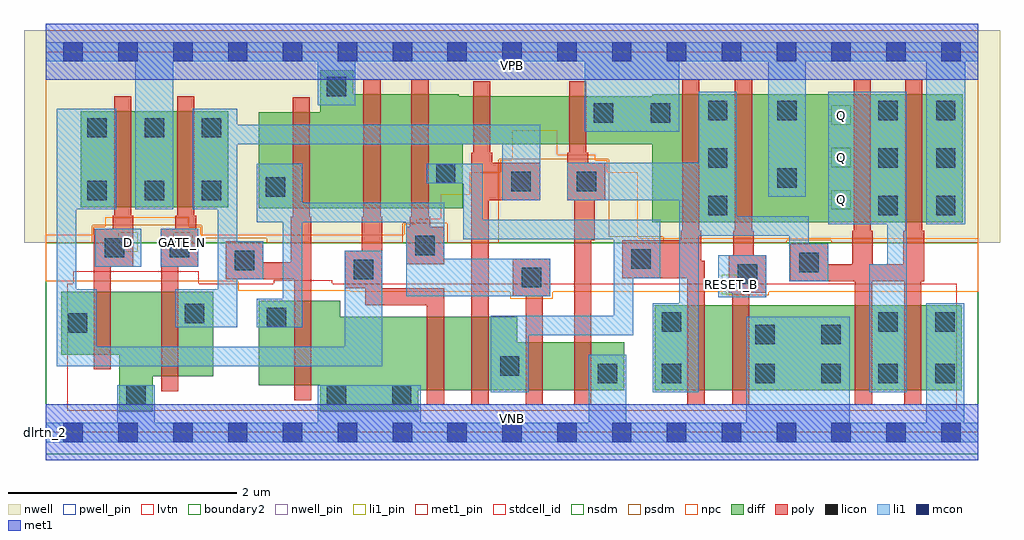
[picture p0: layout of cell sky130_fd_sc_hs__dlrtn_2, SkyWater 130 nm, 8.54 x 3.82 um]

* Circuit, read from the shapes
.subckt sky130_fd_sc_hs__dlrtn_2 D GATE_N Q RESET_B VGND VNB VPB VPWR
XM1 VGND D n1 VNB sky130_fd_pr__nfet_01v8_lvt w=0.55 l=0.15
XM2 n2 GATE_N VGND VNB sky130_fd_pr__nfet_01v8_lvt w=0.74 l=0.15
XM3 VGND n2 n3 VNB sky130_fd_pr__nfet_01v8_lvt w=0.74 l=0.15
XM4 n4 n1 VGND VNB sky130_fd_pr__nfet_01v8_lvt w=0.64 l=0.15
XM5 n5 n2 n4 VNB sky130_fd_pr__nfet_01v8_lvt w=0.64 l=0.15
XM6 n6 n3 n5 VNB sky130_fd_pr__nfet_01v8_lvt w=0.42 l=0.15
XM7 VGND n7 n6 VNB sky130_fd_pr__nfet_01v8_lvt w=0.42 l=0.15
XM8 n8 n5 n7 VNB sky130_fd_pr__nfet_01v8_lvt w=0.74 l=0.15
XM9 VGND RESET_B n8 VNB sky130_fd_pr__nfet_01v8_lvt w=0.74 l=0.15
XM10 Q n7 VGND VNB sky130_fd_pr__nfet_01v8_lvt w=0.74 l=0.15 m=2
XM11 VPWR D n1 VPB sky130_fd_pr__pfet_01v8 w=0.84 l=0.15
XM12 n2 GATE_N VPWR VPB sky130_fd_pr__pfet_01v8 w=0.84 l=0.15
XM13 VPWR n2 n3 VPB sky130_fd_pr__pfet_01v8 w=0.84 l=0.15
XM14 n9 n1 VPWR VPB sky130_fd_pr__pfet_01v8 w=1 l=0.15
XM15 n5 n3 n9 VPB sky130_fd_pr__pfet_01v8 w=1 l=0.15
XM16 n10 n2 n5 VPB sky130_fd_pr__pfet_01v8 w=0.42 l=0.15
XM17 VPWR n7 n10 VPB sky130_fd_pr__pfet_01v8 w=0.42 l=0.15
XM18 n7 n5 VPWR VPB sky130_fd_pr__pfet_01v8 w=1.12 l=0.15
XM19 VPWR RESET_B n7 VPB sky130_fd_pr__pfet_01v8 w=1.12 l=0.15
XM20 Q n7 VPWR VPB sky130_fd_pr__pfet_01v8 w=1.12 l=0.15 m=2
.ends

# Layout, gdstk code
import gdstk
lib = gdstk.Library(unit=1e-6, precision=1e-09)
def R(c, l, rs):  # rectangles x0, y0, x1, y1
    for r in rs: c.add(gdstk.rectangle(r[:2], r[2:], *l))
def A(c, l, x, y, w, h, nx, ny, dx, dy):  # array of equal rectangles
    R(c, l, [(x+i*dx, y+j*dy, x+i*dx+w, y+j*dy+h) for i in range(nx) for j in range(ny)])
def P(c, l, *ps):  # polygons
    for p in ps: c.add(gdstk.Polygon(p, *l))
nwell_pin = (64, 16)
nwell = (64, 20)
diff = (65, 20)
poly = (66, 20)
licon = (66, 44)
li1_pin = (67, 16)
li1 = (67, 20)
mcon = (67, 44)
met1_pin = (68, 16)
met1 = (68, 20)
stdcell_id = (81, 4)
nsdm = (93, 44)
psdm = (94, 20)
npc = (95, 20)
pwell_pin = (122, 16)
lvtn = (125, 44)
boundary2 = (236, 0)

sky130_fd_sc_hs__dlrtn_2 = lib.new_cell('sky130_fd_sc_hs__dlrtn_2')
R(sky130_fd_sc_hs__dlrtn_2, nwell_pin, [(0,3.085,8.16,3.33)])
R(sky130_fd_sc_hs__dlrtn_2, nwell, [(-0.19,1.66,8.35,3.52)])
R(sky130_fd_sc_hs__dlrtn_2, diff, [(5.33,0.37,8.015,1.11), (0.305,1.97,1.595,2.81)])
P(sky130_fd_sc_hs__dlrtn_2, diff, [(1.465,1.23),(0.135,1.23),(0.135,0.68),(0.645,0.68),(0.645,0.18),(0.935,0.18),(0.935,0.49),(1.465,0.49)],
  [(5.06,0.79),(4.125,0.79),(4.125,1.01),(2.575,1.01),(2.575,1.15),(1.865,1.15),(1.865,0.41),(2.4,0.41),(2.4,0.18),(3.26,0.18),(3.26,0.37),(5.06,0.37)],
  [(8.025,2.96),(5.305,2.96),(5.305,2.94),(3.615,2.94),(3.615,2.96),(2.69,2.96),(2.69,3.17),(2.4,3.17),(2.4,2.8),(1.865,2.8),(1.865,1.96),(3.65,1.96),(3.65,2.52),(5.305,2.52),(5.305,1.84),(8.025,1.84)])
P(sky130_fd_sc_hs__dlrtn_2, poly, [(7.685,1.765),(7.67,1.765),(7.67,3.09),(7.52,3.09),(7.52,1.765),(7.505,1.765),(7.505,1.47),(7.235,1.47),(7.235,1.765),(7.22,1.765),(7.22,3.09),(7.07,3.09),(7.07,1.765),(7.055,1.765),(7.055,1.47),(6.845,1.47),(6.845,1.65),(6.515,1.65),(6.515,1.32),(7.08,1.32),(7.08,0.24),(7.23,0.24),(7.23,1.32),(7.51,1.32),(7.51,0.24),(7.66,0.24),(7.66,1.32),(7.685,1.32)],
  [(6.305,1.55),(6.195,1.55),(6.195,1.765),(6.18,1.765),(6.18,3.09),(6.03,3.09),(6.03,1.765),(6.015,1.765),(6.015,1.55),(5.975,1.55),(5.975,1.22),(6.005,1.22),(6.005,0.24),(6.155,0.24),(6.155,1.22),(6.305,1.22)],
  [(5.765,1.5),(5.735,1.5),(5.735,1.765),(5.72,1.765),(5.72,3.09),(5.57,3.09),(5.57,1.765),(5.555,1.765),(5.555,1.68),(5.045,1.68),(5.045,1.35),(5.615,1.35),(5.615,0.24),(5.765,0.24)],
  [(4.895,2.36),(4.745,2.36),(4.745,2.445),(4.73,2.445),(4.73,3.07),(4.58,3.07),(4.58,2.445),(4.565,2.445),(4.565,2.03),(4.625,2.03),(4.625,0.24),(4.775,0.24),(4.775,1.68),(4.805,1.68),(4.805,2.03),(4.895,2.03)],
  [(4.415,1.52),(4.085,1.52),(4.085,1.19),(4.2,1.19),(4.2,0.24),(4.35,0.24),(4.35,1.19),(4.415,1.19)],
  [(4.325,2.36),(3.905,2.36),(3.905,2.445),(3.89,2.445),(3.89,3.07),(3.74,3.07),(3.74,2.445),(3.725,2.445),(3.725,0.24),(3.875,0.24),(3.875,2.03),(4.325,2.03)],
  [(3.485,1.26),(2.945,1.26),(2.945,1.885),(2.93,1.885),(2.93,3.09),(2.78,3.09),(2.78,1.885),(2.765,1.885),(2.765,1.59),(2.615,1.59),(2.615,1.26),(2.795,1.26),(2.795,1.11),(3.335,1.11),(3.335,0.24),(3.485,0.24)],
  [(3.485,1.8),(3.365,1.8),(3.365,1.885),(3.35,1.885),(3.35,3.09),(3.2,3.09),(3.2,1.885),(3.185,1.885),(3.185,1.8),(3.155,1.8),(3.155,1.47),(3.485,1.47)],
  [(2.325,1.885),(2.31,1.885),(2.31,2.93),(2.16,2.93),(2.16,1.885),(2.145,1.885),(2.145,1.49),(1.905,1.49),(1.905,1.67),(1.575,1.67),(1.575,1.34),(2.175,1.34),(2.175,0.28),(2.325,0.28)],
  [(1.335,1.78),(1.315,1.78),(1.315,1.895),(1.3,1.895),(1.3,2.94),(1.15,2.94),(1.15,1.895),(1.135,1.895),(1.135,1.78),(1.005,1.78),(1.005,1.45),(1.01,1.45),(1.01,0.36),(1.16,0.36),(1.16,1.45),(1.335,1.45)],
  [(0.765,1.895),(0.75,1.895),(0.75,2.94),(0.6,2.94),(0.6,1.895),(0.585,1.895),(0.585,1.78),(0.42,1.78),(0.42,0.55),(0.57,0.55),(0.57,1.45),(0.765,1.45)])
A(sky130_fd_sc_hs__dlrtn_2, licon, 6.785, 0.43, 0.17, 0.17, 3, 1, 0.5, 0)
A(sky130_fd_sc_hs__dlrtn_2, licon, 5.795, 1.9, 0.17, 0.17, 1, 3, 0, 0.415)
A(sky130_fd_sc_hs__dlrtn_2, licon, 7.285, 1.9, 0.17, 0.17, 1, 3, 0, 0.415)
A(sky130_fd_sc_hs__dlrtn_2, licon, 7.79, 1.9, 0.17, 0.17, 1, 3, 0, 0.415)
A(sky130_fd_sc_hs__dlrtn_2, licon, 0.365, 2.03, 0.17, 0.17, 3, 2, 0.5, 0.55)
R(sky130_fd_sc_hs__dlrtn_2, licon, [(0.705,0.24,0.875,0.41), (2.46,0.24,2.63,0.41), (3.03,0.24,3.2,0.41), (4.83,0.43,5,0.6), (5.39,0.43,5.56,0.6), (6.21,0.43,6.38,0.6), (3.975,0.495,4.145,0.665), (6.21,0.77,6.38,0.94), (6.785,0.77,6.955,0.94), (0.195,0.87,0.365,1.04), (5.39,0.88,5.56,1.05), (7.285,0.88,7.455,1.05), (7.785,0.88,7.955,1.05), (1.935,0.92,2.105,1.09), (1.215,0.955,1.385,1.125), (4.165,1.27,4.335,1.44), (6.055,1.3,6.225,1.47), (2.695,1.34,2.865,1.51), (6.595,1.4,6.765,1.57), (1.655,1.42,1.825,1.59), (5.125,1.43,5.295,1.6), (0.515,1.53,0.685,1.7), (1.085,1.53,1.255,1.7), (3.235,1.55,3.405,1.72), (1.925,2.06,2.095,2.23), (4.075,2.11,4.245,2.28), (4.645,2.11,4.815,2.28), (6.4,2.14,6.57,2.31), (3.415,2.18,3.585,2.35), (4.795,2.71,4.965,2.88), (5.295,2.71,5.465,2.88), (6.4,2.73,6.57,2.9), (2.46,2.94,2.63,3.11)])
A(sky130_fd_sc_hs__dlrtn_2, li1_pin, 6.875, 1.95, 0.17, 0.17, 1, 3, 0, 0.37)
R(sky130_fd_sc_hs__dlrtn_2, li1_pin, [(5.915,1.21,6.085,1.38), (0.635,1.58,0.805,1.75), (1.115,1.58,1.285,1.75)])
R(sky130_fd_sc_hs__dlrtn_2, li1, [(5.885,1.18,6.305,1.55), (0.435,1.45,0.835,1.78), (1.005,1.45,1.335,1.78)])
P(sky130_fd_sc_hs__dlrtn_2, li1, [(0.785,1.95),(0.785,3.245),(0,3.245),(0,3.415),(8.16,3.415),(8.16,3.245),(8.045,3.245),(8.045,1.82),(7.705,1.82),(7.705,3.245),(6.65,3.245),(6.65,2.06),(6.32,2.06),(6.32,3.245),(5.545,3.245),(5.545,2.63),(4.715,2.63),(4.715,3.245),(2.71,3.245),(2.71,2.86),(2.38,2.86),(2.38,3.245),(1.115,3.245),(1.115,1.95)],
  [(0.625,0.085),(0.625,0.41),(0.955,0.41),(0.955,0.085),(2.38,0.085),(2.38,0.41),(3.28,0.41),(3.28,0.085),(4.75,0.085),(4.75,0.68),(5.08,0.68),(5.08,0.085),(6.13,0.085),(6.13,1.01),(7.035,1.01),(7.035,0.085),(7.705,0.085),(7.705,1.13),(8.035,1.13),(8.035,0.085),(8.16,0.085),(8.16,-0.085),(0,-0.085),(0,0.085)],
  [(6.045,1.89),(6.675,1.89),(6.675,1.65),(6.845,1.65),(6.845,1.32),(6.505,1.32),(6.505,1.72),(5.715,1.72),(5.715,0.35),(5.31,0.35),(5.31,1.13),(5.545,1.13),(5.545,2.03),(4.565,2.03),(4.565,2.36),(5.715,2.36),(5.715,2.98),(6.045,2.98)],
  [(7.365,1.47),(7.365,1.82),(6.845,1.82),(6.845,2.98),(7.535,2.98),(7.535,0.35),(7.205,0.35),(7.205,1.47)],
  [(1.505,1.95),(1.285,1.95),(1.285,2.83),(1.675,2.83),(1.675,2.69),(4.325,2.69),(4.325,2.03),(3.995,2.03),(3.995,2.52),(1.675,2.52),(1.675,1.67),(1.905,1.67),(1.905,1.34),(1.675,1.34),(1.675,0.92),(1.135,0.92),(1.135,1.25),(1.505,1.25)],
  [(0.445,0.75),(2.615,0.75),(2.615,1.59),(2.945,1.59),(2.945,0.58),(0.095,0.58),(0.095,2.83),(0.615,2.83),(0.615,1.95),(0.265,1.95),(0.265,1.25),(0.445,1.25)],
  [(2.245,2.01),(3.485,2.01),(3.485,1.52),(4.415,1.52),(4.415,1.19),(3.155,1.19),(3.155,1.84),(2.245,1.84),(2.245,0.92),(1.845,0.92),(1.845,1.17),(2.075,1.17),(2.075,1.84),(1.845,1.84),(1.845,2.35),(2.245,2.35)],
  [(3.655,1.69),(3.655,2.18),(3.335,2.18),(3.335,2.35),(3.825,2.35),(3.825,1.86),(5.375,1.86),(5.375,1.35),(5.14,1.35),(5.14,0.85),(4.225,0.85),(4.225,0.35),(3.895,0.35),(3.895,1.02),(4.97,1.02),(4.97,1.69)])
A(sky130_fd_sc_hs__dlrtn_2, mcon, 0.155, -0.085, 0.17, 0.17, 17, 2, 0.48, 3.33)
R(sky130_fd_sc_hs__dlrtn_2, met1_pin, [(0,0,8.16,0.245), (0,3.085,8.16,3.33)])
R(sky130_fd_sc_hs__dlrtn_2, met1, [(0,-0.245,8.16,0.245), (0,3.085,8.16,3.575)])
R(sky130_fd_sc_hs__dlrtn_2, stdcell_id, [(0,0,8.16,3.33)])
R(sky130_fd_sc_hs__dlrtn_2, nsdm, [(0,-0.19,8.16,1.66)])
P(sky130_fd_sc_hs__dlrtn_2, psdm, [(8.16,3.52),(0,3.52),(0,1.66),(0.405,1.66),(0.405,1.81),(1.365,1.81),(1.365,1.7),(1.935,1.7),(1.935,1.66),(3.125,1.66),(3.125,1.83),(3.515,1.83),(3.515,1.66),(3.965,1.66),(3.965,2.39),(4.925,2.39),(4.925,1.71),(5.405,1.71),(5.405,1.66),(6.485,1.66),(6.485,1.68),(6.875,1.68),(6.875,1.66),(8.16,1.66)])
P(sky130_fd_sc_hs__dlrtn_2, npc, [(8.16,1.7),(5.18,1.7),(5.18,2.275),(4.915,2.275),(4.915,2.38),(4.81,2.38),(4.81,2.43),(4.475,2.43),(4.475,2.645),(4.08,2.645),(4.08,2.38),(3.975,2.38),(3.975,2.275),(3.71,2.275),(3.71,2.085),(3.455,2.085),(3.455,1.87),(3.24,1.87),(3.24,1.82),(3.135,1.82),(3.135,1.73),(1.355,1.73),(1.355,1.8),(1.25,1.8),(1.25,1.88),(0.52,1.88),(0.52,1.8),(0.415,1.8),(0.415,1.73),(0,1.73),(0,1.32),(1.685,1.32),(1.685,1.24),(2.665,1.24),(2.665,1.23),(4.065,1.23),(4.065,1.17),(4.435,1.17),(4.435,1.23),(5.955,1.23),(5.955,1.2),(6.325,1.2),(6.325,1.23),(8.16,1.23)])
R(sky130_fd_sc_hs__dlrtn_2, pwell_pin, [(0,0,8.16,0.245)])
P(sky130_fd_sc_hs__dlrtn_2, lvtn, [(7.97,1.3),(2.505,1.3),(2.505,1.33),(1.995,1.33),(1.995,1.3),(1.34,1.3),(1.34,1.41),(0.24,1.41),(0.24,1.3),(0.19,1.3),(0.19,0.19),(7.97,0.19)])
R(sky130_fd_sc_hs__dlrtn_2, boundary2, [(0,0,8.16,3.33)])
sky130_fd_sc_hs__dlrtn_2.add(gdstk.Label('dlrtn_2', (0,0), layer=83, texttype=44))
sky130_fd_sc_hs__dlrtn_2.add(gdstk.Label('VNB', (4.08,0.123), layer=64, texttype=59))
sky130_fd_sc_hs__dlrtn_2.add(gdstk.Label('VPB', (4.08,3.208), layer=64, texttype=5))
sky130_fd_sc_hs__dlrtn_2.add(gdstk.Label('VPWR', (4.08,3.208), layer=68, texttype=5))
sky130_fd_sc_hs__dlrtn_2.add(gdstk.Label('VGND', (4.08,0.123), layer=68, texttype=5))
sky130_fd_sc_hs__dlrtn_2.add(gdstk.Label('D', (0.72,1.665), layer=67, texttype=5))
sky130_fd_sc_hs__dlrtn_2.add(gdstk.Label('GATE_N', (1.2,1.665), layer=67, texttype=5))
sky130_fd_sc_hs__dlrtn_2.add(gdstk.Label('RESET_B', (6,1.295), layer=67, texttype=5))
sky130_fd_sc_hs__dlrtn_2.add(gdstk.Label('Q', (6.96,2.035), layer=67, texttype=5))
sky130_fd_sc_hs__dlrtn_2.add(gdstk.Label('Q', (6.96,2.405), layer=67, texttype=5))
sky130_fd_sc_hs__dlrtn_2.add(gdstk.Label('Q', (6.96,2.775), layer=67, texttype=5))

lib.write_gds('sky130_fd_sc_hs__dlrtn_2.gds')
